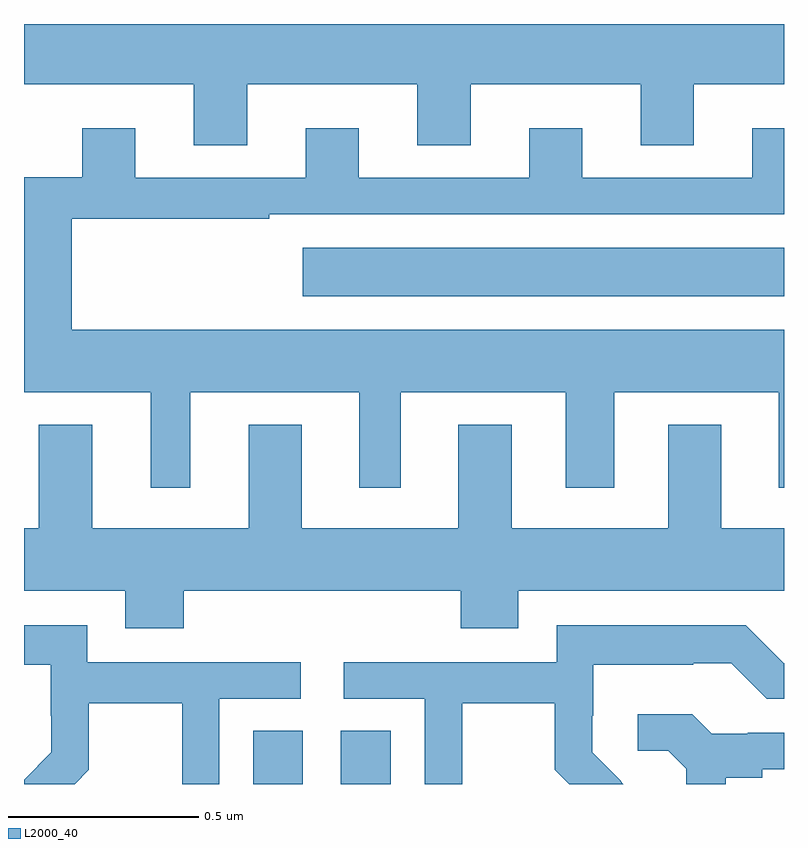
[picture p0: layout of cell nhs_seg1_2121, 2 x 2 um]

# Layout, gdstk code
import gdstk
lib = gdstk.Library(unit=1e-6, precision=1e-09)
def R(c, l, rs):  # rectangles x0, y0, x1, y1
    for r in rs: c.add(gdstk.rectangle(r[:2], r[2:], *l))
def P(c, l, *ps):  # polygons
    for p in ps: c.add(gdstk.Polygon(p, *l))
L2000_40 = (2000, 40)

nhs_seg1_2121 = lib.new_cell('nhs_seg1_2121')
R(nhs_seg1_2121, L2000_40, [(137.603,575.199,137.734,575.339), (137.834,575.199,137.965,575.339), (137.733,576.482,139,576.61)])
P(nhs_seg1_2121, L2000_40, [(137.587,577.04),(138.035,577.04),(138.035,576.88),(138.175,576.88),(138.175,577.04),(138.623,577.04),(138.623,576.88),(138.763,576.88),(138.763,577.04),(139,577.04),(139,577.199),(137,577.199),(137,577.04),(137.447,577.04),(137.447,576.88),(137.587,576.88)],
  [(137.437,576.23),(137.882,576.23),(137.882,575.979),(137.992,575.979),(137.992,576.23),(138.425,576.23),(138.425,575.979),(138.553,575.979),(138.553,576.23),(138.986,576.23),(138.986,575.979),(139,575.979),(139,576.394),(137.125,576.394),(137.125,576.687),(137.645,576.687),(137.645,576.699),(139,576.699),(139,576.925),(138.917,576.925),(138.917,576.795),(138.469,576.795),(138.469,576.925),(138.329,576.925),(138.329,576.795),(137.881,576.795),(137.881,576.925),(137.741,576.925),(137.741,576.795),(137.293,576.795),(137.293,576.925),(137.153,576.925),(137.153,576.796),(137,576.796),(137,576.23),(137.333,576.23),(137.333,575.979),(137.437,575.979)],
  [(137.42,575.708),(138.149,575.708),(138.149,575.609),(138.301,575.609),(138.301,575.708),(139,575.708),(139,575.872),(138.835,575.872),(138.835,576.145),(138.695,576.145),(138.695,575.872),(138.283,575.872),(138.283,576.145),(138.143,576.145),(138.143,575.872),(137.731,575.872),(137.731,576.145),(137.591,576.145),(137.591,575.872),(137.179,575.872),(137.179,576.145),(137.039,576.145),(137.039,575.872),(137,575.872),(137,575.708),(137.267,575.708),(137.267,575.609),(137.42,575.609)],
  [(138.153,575.412),(138.397,575.412),(138.397,575.237),(138.435,575.199),(138.577,575.199),(138.569,575.207),(138.57,575.208),(138.496,575.282),(138.496,575.379),(138.498,575.379),(138.498,575.513),(138.761,575.513),(138.761,575.517),(138.861,575.517),(138.954,575.424),(139,575.424),(139,575.517),(138.999,575.517),(138.899,575.617),(138.402,575.617),(138.402,575.52),(137.841,575.52),(137.841,575.424),(138.054,575.424),(138.054,575.199),(138.153,575.199)],
  [(137.171,575.237),(137.171,575.412),(137.416,575.412),(137.416,575.199),(137.514,575.199),(137.514,575.424),(137.728,575.424),(137.728,575.52),(137.166,575.52),(137.166,575.617),(137,575.617),(137,575.513),(137.07,575.513),(137.07,575.379),(137.072,575.379),(137.072,575.282),(137,575.21),(137,575.199),(137.133,575.199)],
  [(138.847,575.216),(138.943,575.216),(138.943,575.238),(139,575.238),(139,575.334),(138.904,575.334),(138.904,575.331),(138.81,575.331),(138.758,575.383),(138.615,575.383),(138.615,575.286),(138.696,575.286),(138.743,575.239),(138.743,575.199),(138.847,575.199)])

lib.write_gds('nhs_seg1_2121.gds')
